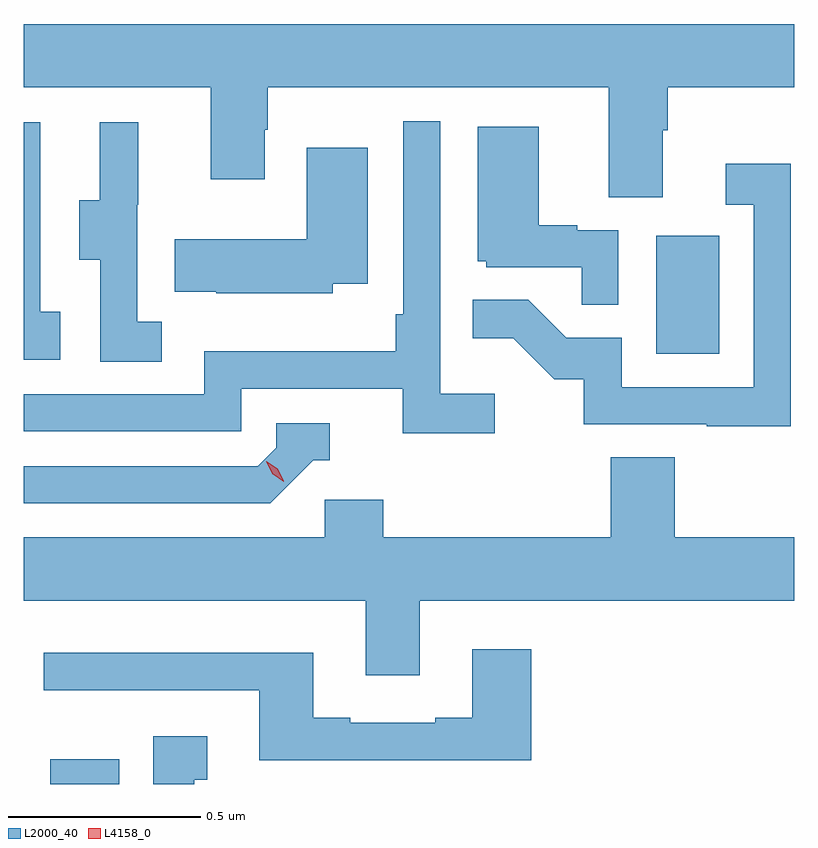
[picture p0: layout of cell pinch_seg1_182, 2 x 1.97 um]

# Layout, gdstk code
import gdstk
lib = gdstk.Library(unit=1e-6, precision=1e-09)
def R(c, l, rs):  # rectangles x0, y0, x1, y1
    for r in rs: c.add(gdstk.rectangle(r[:2], r[2:], *l))
def P(c, l, *ps):  # polygons
    for p in ps: c.add(gdstk.Polygon(p, *l))
L2000_40 = (2000, 40)
L4158_0 = (4158, 0)

pinch_seg1_182 = lib.new_cell('pinch_seg1_182')
R(pinch_seg1_182, L2000_40, [(1113.506,551.256,1113.685,551.32), (1115.078,552.372,1115.242,552.679)])
P(pinch_seg1_182, L2000_40, [(1115.095,552.952),(1115.108,552.952),(1115.108,553.064),(1115.437,553.064),(1115.437,553.228),(1113.437,553.228),(1113.437,553.064),(1113.923,553.064),(1113.923,552.825),(1114.063,552.825),(1114.063,552.953),(1114.071,552.953),(1114.071,553.064),(1114.955,553.064),(1114.955,552.778),(1115.095,552.778)],
  [(1114.66,552.268),(1114.518,552.268),(1114.518,552.976),(1114.422,552.976),(1114.422,552.475),(1114.402,552.475),(1114.402,552.379),(1113.906,552.379),(1113.906,552.267),(1113.437,552.267),(1113.437,552.171),(1114.002,552.171),(1114.002,552.282),(1114.421,552.282),(1114.421,552.166),(1114.66,552.166)],
  [(1113.796,552.455),(1113.732,552.455),(1113.732,552.759),(1113.734,552.759),(1113.734,552.973),(1113.635,552.973),(1113.635,552.771),(1113.581,552.771),(1113.581,552.616),(1113.636,552.616),(1113.636,552.352),(1113.796,552.352)],
  [(1113.532,552.482),(1113.48,552.482),(1113.48,552.973),(1113.437,552.973),(1113.437,552.357),(1113.532,552.357)],
  [(1114.98,552.693),(1114.874,552.693),(1114.874,552.706),(1114.774,552.706),(1114.774,552.961),(1114.616,552.961),(1114.616,552.612),(1114.638,552.612),(1114.638,552.597),(1114.885,552.597),(1114.885,552.499),(1114.98,552.499)],
  [(1114.239,552.554),(1114.33,552.554),(1114.33,552.907),(1114.172,552.907),(1114.172,552.67),(1113.829,552.67),(1113.829,552.533),(1113.937,552.533),(1113.937,552.53),(1114.239,552.53)],
  [(1115.427,552.865),(1115.259,552.865),(1115.259,552.759),(1115.331,552.759),(1115.331,552.285),(1114.989,552.285),(1114.989,552.414),(1114.845,552.414),(1114.747,552.512),(1114.603,552.512),(1114.603,552.413),(1114.707,552.413),(1114.814,552.306),(1114.891,552.306),(1114.891,552.189),(1115.209,552.189),(1115.209,552.184),(1115.427,552.184)],
  [(1114.188,552.096),(1114.231,552.096),(1114.231,552.192),(1114.092,552.192),(1114.092,552.129),(1114.044,552.081),(1113.437,552.081),(1113.437,551.985),(1114.077,551.985)],
  [(1114.465,551.732),(1115.437,551.732),(1115.437,551.896),(1115.126,551.896),(1115.126,552.104),(1114.961,552.104),(1114.961,551.896),(1114.37,551.896),(1114.37,551.994),(1114.218,551.994),(1114.218,551.896),(1113.437,551.896),(1113.437,551.732),(1114.325,551.732),(1114.325,551.538),(1114.465,551.538)],
  [(1114.754,551.605),(1114.601,551.605),(1114.601,551.428),(1114.505,551.428),(1114.505,551.415),(1114.285,551.415),(1114.285,551.428),(1114.189,551.428),(1114.189,551.596),(1113.489,551.596),(1113.489,551.499),(1114.049,551.499),(1114.049,551.318),(1114.754,551.318)],
  [(1113.88,551.267),(1113.913,551.267),(1113.913,551.38),(1113.773,551.38),(1113.773,551.256),(1113.88,551.256)])
P(pinch_seg1_182, L4158_0, [(1114.112,552.04),(1114.082,552.061),(1114.066,552.094),(1114.066,552.094),(1114.067,552.094),(1114.097,552.074),(1114.112,552.041),(1114.112,552.04)])

lib.write_gds('pinch_seg1_182.gds')
